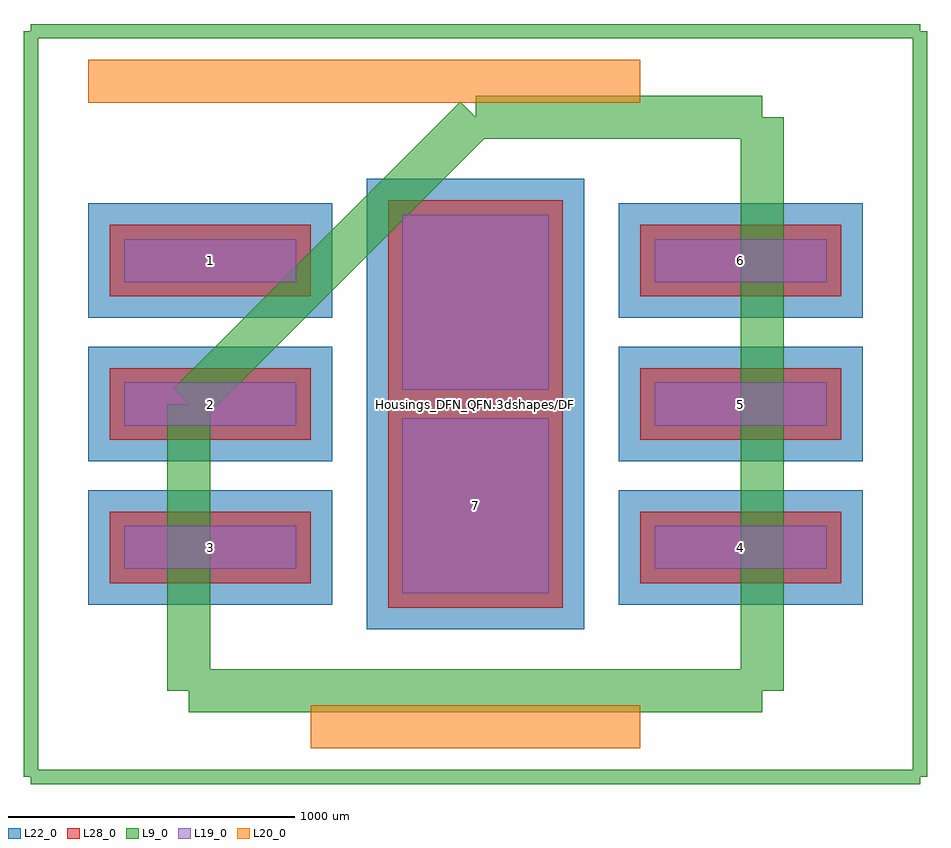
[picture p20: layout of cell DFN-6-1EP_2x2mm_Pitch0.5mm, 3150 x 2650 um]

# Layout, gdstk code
import gdstk
lib = gdstk.Library(unit=1e-6, precision=1e-09)
def R(c, l, rs):  # rectangles x0, y0, x1, y1
    for r in rs: c.add(gdstk.rectangle(r[:2], r[2:], *l))
def A(c, l, x, y, w, h, nx, ny, dx, dy):  # array of equal rectangles
    R(c, l, [(x+i*dx, y+j*dy, x+i*dx+w, y+j*dy+h) for i in range(nx) for j in range(ny)])
L9_0 = (9, 0)
L19_0 = (19, 0)
L20_0 = (20, 0)
L22_0 = (22, 0)
L28_0 = (28, 0)

dfn_6_1ep_2x2mm_pitch0_5 = lib.new_cell('DFN-6-1EP_2x2mm_Pitch0.5mm')
A(dfn_6_1ep_2x2mm_pitch0_5, L19_0, -1225, -575, 600, 150, 1, 3, 0, 500)
A(dfn_6_1ep_2x2mm_pitch0_5, L19_0, 625, -575, 600, 150, 1, 3, 0, 500)
R(dfn_6_1ep_2x2mm_pitch0_5, L19_0, [(-255,-660,255,-50), (-255,50,255,660)])
A(dfn_6_1ep_2x2mm_pitch0_5, L22_0, -1350, -700, 850, 400, 1, 3, 0, 500)
A(dfn_6_1ep_2x2mm_pitch0_5, L22_0, 500, -700, 850, 400, 1, 3, 0, 500)
R(dfn_6_1ep_2x2mm_pitch0_5, L22_0, [(-380,-785,380,75), (-380,-75,380,785)])
A(dfn_6_1ep_2x2mm_pitch0_5, L28_0, -1275, -625, 700, 250, 1, 3, 0, 500)
A(dfn_6_1ep_2x2mm_pitch0_5, L28_0, 575, -625, 700, 250, 1, 3, 0, 500)
R(dfn_6_1ep_2x2mm_pitch0_5, L28_0, [(-305,-710,305,0), (-305,0,305,710)])
dfn_6_1ep_2x2mm_pitch0_5.add(gdstk.FlexPath([(-1350,1125),(575,1125)], 149.998, ends="flush", simple_path=True, layer=20, datatype=0))  # L20_0
dfn_6_1ep_2x2mm_pitch0_5.add(gdstk.FlexPath([(-575,-1125),(575,-1125)], 149.998, ends="flush", simple_path=True, layer=20, datatype=0))  # L20_0
dfn_6_1ep_2x2mm_pitch0_5.add(gdstk.FlexPath([(-1550,-1300),(1550,-1300)], 50, ends="flush", simple_path=True, layer=9, datatype=0))  # L9_0
dfn_6_1ep_2x2mm_pitch0_5.add(gdstk.FlexPath([(-1550,1300),(1550,1300)], 50, ends="flush", simple_path=True, layer=9, datatype=0))  # L9_0
dfn_6_1ep_2x2mm_pitch0_5.add(gdstk.FlexPath([(1550,1300),(1550,-1300)], 50, ends="flush", simple_path=True, layer=9, datatype=0))  # L9_0
dfn_6_1ep_2x2mm_pitch0_5.add(gdstk.FlexPath([(-1550,1300),(-1550,-1300)], 50, ends="flush", simple_path=True, layer=9, datatype=0))  # L9_0
dfn_6_1ep_2x2mm_pitch0_5.add(gdstk.FlexPath([(-1000,0),(0,1000)], 149.998, ends="flush", simple_path=True, layer=9, datatype=0))  # L9_0
dfn_6_1ep_2x2mm_pitch0_5.add(gdstk.FlexPath([(-1000,-1000),(-1000,0)], 149.998, ends="flush", simple_path=True, layer=9, datatype=0))  # L9_0
dfn_6_1ep_2x2mm_pitch0_5.add(gdstk.FlexPath([(1000,-1000),(-1000,-1000)], 149.998, ends="flush", simple_path=True, layer=9, datatype=0))  # L9_0
dfn_6_1ep_2x2mm_pitch0_5.add(gdstk.FlexPath([(1000,1000),(1000,-1000)], 149.998, ends="flush", simple_path=True, layer=9, datatype=0))  # L9_0
dfn_6_1ep_2x2mm_pitch0_5.add(gdstk.FlexPath([(0,1000),(1000,1000)], 149.998, ends="flush", simple_path=True, layer=9, datatype=0))  # L9_0
dfn_6_1ep_2x2mm_pitch0_5.add(gdstk.Label('Housings_DFN_QFN.3dshapes/DFN-6-1EP_2x2mm_Pitch0.5mm.wrl', (0,0), layer=12, texttype=0))
dfn_6_1ep_2x2mm_pitch0_5.add(gdstk.Label('7', (0,-355), layer=28, texttype=0))
dfn_6_1ep_2x2mm_pitch0_5.add(gdstk.Label('6', (925,500), layer=28, texttype=0))
dfn_6_1ep_2x2mm_pitch0_5.add(gdstk.Label('5', (925,0), layer=28, texttype=0))
dfn_6_1ep_2x2mm_pitch0_5.add(gdstk.Label('4', (925,-500), layer=28, texttype=0))
dfn_6_1ep_2x2mm_pitch0_5.add(gdstk.Label('3', (-925,-500), layer=28, texttype=0))
dfn_6_1ep_2x2mm_pitch0_5.add(gdstk.Label('2', (-925,0), layer=28, texttype=0))
dfn_6_1ep_2x2mm_pitch0_5.add(gdstk.Label('1', (-925,500), layer=28, texttype=0))
dfn_6_1ep_2x2mm_pitch0_5.add(gdstk.Label('type', (0,-2050), layer=9, texttype=0))
dfn_6_1ep_2x2mm_pitch0_5.add(gdstk.Label('devicename', (0,2050), layer=9, texttype=0))

lib.write_gds('DFN-6-1EP_2x2mm_Pitch0.5mm.gds')
